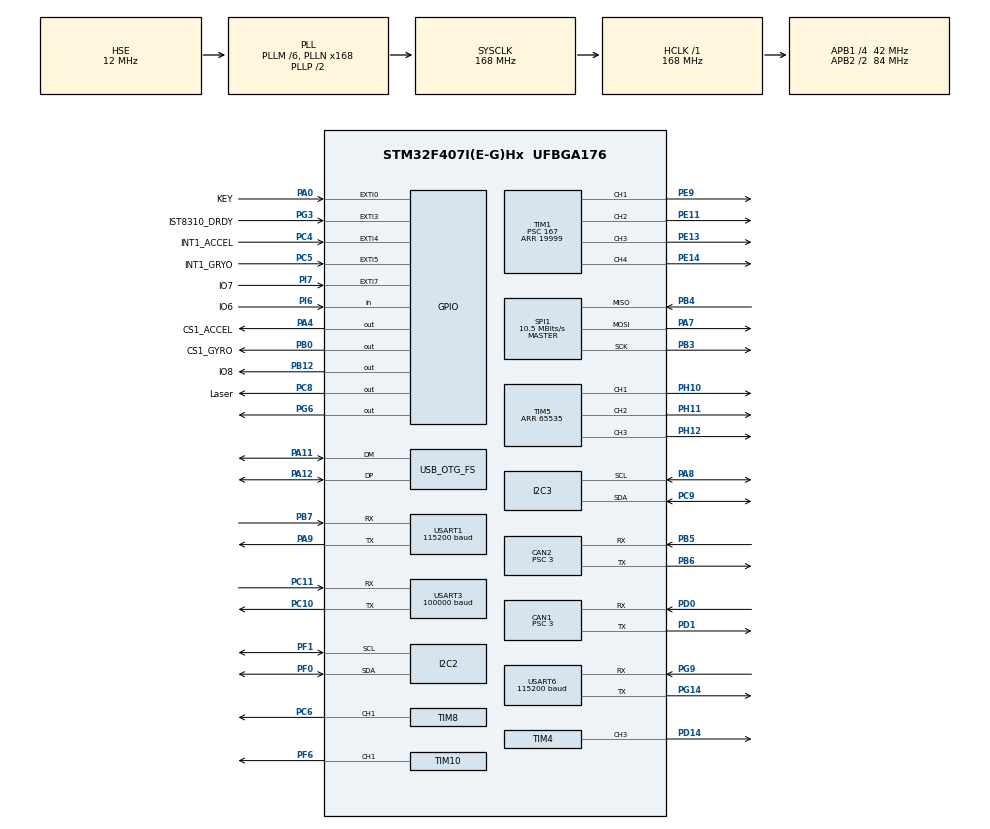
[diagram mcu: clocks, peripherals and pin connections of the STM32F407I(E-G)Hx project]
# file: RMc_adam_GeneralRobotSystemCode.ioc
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CAN1.BS1=CAN_BS1_10TQ
CAN1.BS2=CAN_BS2_3TQ
CAN1.CalculateBaudRate=1000000
CAN1.CalculateTimeBit=999.99
CAN1.CalculateTimeQuantum=71.42857142857143
CAN1.Prescaler=3
CAN2.BS1=CAN_BS1_10TQ
CAN2.BS2=CAN_BS2_3TQ
CAN2.CalculateBaudRate=1000000
CAN2.CalculateTimeBit=999.99
CAN2.CalculateTimeQuantum=71.42857142857143
CAN2.Prescaler=3
Dma.Request0=USART3_RX
Dma.Request1=USART1_RX
Dma.Request2=USART1_TX
Dma.Request3=SPI1_RX
Dma.Request4=SPI1_TX
Dma.Request5=USART6_RX
Dma.Request6=USART6_TX
Dma.SPI1_RX.3.Direction=DMA_PERIPH_TO_MEMORY
Dma.SPI1_RX.3.FIFOMode=DMA_FIFOMODE_DISABLE
Dma.SPI1_RX.3.Instance=DMA2_Stream0
Dma.SPI1_RX.3.MemDataAlignment=DMA_MDATAALIGN_BYTE
Dma.SPI1_RX.3.MemInc=DMA_MINC_ENABLE
Dma.SPI1_RX.3.Mode=DMA_NORMAL
Dma.SPI1_RX.3.PeriphDataAlignment=DMA_PDATAALIGN_BYTE
Dma.SPI1_RX.3.PeriphInc=DMA_PINC_DISABLE
Dma.SPI1_RX.3.Priority=DMA_PRIORITY_VERY_HIGH
Dma.SPI1_TX.4.Direction=DMA_MEMORY_TO_PERIPH
Dma.SPI1_TX.4.FIFOMode=DMA_FIFOMODE_DISABLE
Dma.SPI1_TX.4.Instance=DMA2_Stream3
Dma.SPI1_TX.4.MemDataAlignment=DMA_MDATAALIGN_BYTE
Dma.SPI1_TX.4.MemInc=DMA_MINC_ENABLE
Dma.SPI1_TX.4.Mode=DMA_NORMAL
Dma.SPI1_TX.4.PeriphDataAlignment=DMA_PDATAALIGN_BYTE
Dma.SPI1_TX.4.PeriphInc=DMA_PINC_DISABLE
Dma.SPI1_TX.4.Priority=DMA_PRIORITY_VERY_HIGH
Dma.USART1_RX.1.Direction=DMA_PERIPH_TO_MEMORY
Dma.USART1_RX.1.FIFOMode=DMA_FIFOMODE_DISABLE
Dma.USART1_RX.1.Instance=DMA2_Stream5
Dma.USART1_RX.1.MemDataAlignment=DMA_MDATAALIGN_BYTE
Dma.USART1_RX.1.MemInc=DMA_MINC_ENABLE
Dma.USART1_RX.1.Mode=DMA_NORMAL
Dma.USART1_RX.1.PeriphDataAlignment=DMA_PDATAALIGN_BYTE
Dma.USART1_RX.1.PeriphInc=DMA_PINC_DISABLE
Dma.USART1_RX.1.Priority=DMA_PRIORITY_MEDIUM
Dma.USART1_TX.2.Direction=DMA_MEMORY_TO_PERIPH
Dma.USART1_TX.2.FIFOMode=DMA_FIFOMODE_DISABLE
Dma.USART1_TX.2.Instance=DMA2_Stream7
Dma.USART1_TX.2.MemDataAlignment=DMA_MDATAALIGN_BYTE
Dma.USART1_TX.2.MemInc=DMA_MINC_ENABLE
Dma.USART1_TX.2.Mode=DMA_NORMAL
Dma.USART1_TX.2.PeriphDataAlignment=DMA_PDATAALIGN_BYTE
Dma.USART1_TX.2.PeriphInc=DMA_PINC_DISABLE
Dma.USART1_TX.2.Priority=DMA_PRIORITY_MEDIUM
Dma.USART3_RX.0.Direction=DMA_PERIPH_TO_MEMORY
Dma.USART3_RX.0.FIFOMode=DMA_FIFOMODE_DISABLE
Dma.USART3_RX.0.Instance=DMA1_Stream1
Dma.USART3_RX.0.MemDataAlignment=DMA_MDATAALIGN_BYTE
Dma.USART3_RX.0.MemInc=DMA_MINC_ENABLE
Dma.USART3_RX.0.Mode=DMA_CIRCULAR
Dma.USART3_RX.0.PeriphDataAlignment=DMA_PDATAALIGN_BYTE
Dma.USART3_RX.0.PeriphInc=DMA_PINC_DISABLE
Dma.USART3_RX.0.Priority=DMA_PRIORITY_VERY_HIGH
Dma.USART6_RX.5.Direction=DMA_PERIPH_TO_MEMORY
Dma.USART6_RX.5.FIFOMode=DMA_FIFOMODE_DISABLE
Dma.USART6_RX.5.Instance=DMA2_Stream2
Dma.USART6_RX.5.MemDataAlignment=DMA_MDATAALIGN_BYTE
Dma.USART6_RX.5.MemInc=DMA_MINC_ENABLE
Dma.USART6_RX.5.Mode=DMA_NORMAL
Dma.USART6_RX.5.PeriphDataAlignment=DMA_PDATAALIGN_BYTE
Dma.USART6_RX.5.PeriphInc=DMA_PINC_DISABLE
Dma.USART6_RX.5.Priority=DMA_PRIORITY_HIGH
Dma.USART6_TX.6.Direction=DMA_MEMORY_TO_PERIPH
Dma.USART6_TX.6.FIFOMode=DMA_FIFOMODE_DISABLE
Dma.USART6_TX.6.Instance=DMA2_Stream6
Dma.USART6_TX.6.MemDataAlignment=DMA_MDATAALIGN_BYTE
Dma.USART6_TX.6.MemInc=DMA_MINC_ENABLE
Dma.USART6_TX.6.Mode=DMA_NORMAL
Dma.USART6_TX.6.PeriphDataAlignment=DMA_PDATAALIGN_BYTE
Dma.USART6_TX.6.PeriphInc=DMA_PINC_DISABLE
Dma.USART6_TX.6.Priority=DMA_PRIORITY_HIGH
FREERTOS.Tasks01=flashLED,8,128,flashLEDTask_callback,Default,NULL,Dynamic,NULL,NULL;CAN_sendTask,55,128,CAN_sendTask_callback,Default,NULL,Dynamic,NULL,NULL;FastTestTask,8,128,FastTestTask_callback,Default,NULL,Dynamic,NULL,NULL;RemoteTask,40,256,RemoteTask_callback,Default,NULL,Dynamic,NULL,NULL;ChassisTask,49,128,ChassisTask_callback,Default,NULL,Dynamic,NULL,NULL;gimbalTask,54,128,gimbalTask_callback,Default,NULL,Dynamic,NULL,NULL;NUCcontrolTask,39,256,NUCcontrolTask_callback,Default,NULL,Dynamic,NULL,NULL;errorDetectTask,8,128,errorDetectTask_callback,Default,NULL,Dynamic,NULL,NULL;statusTask,8,128,statusTask_callback,Default,NULL,Dynamic,NULL,NULL
FREERTOS.configENABLE_FPU=1
I2C2.I2C_Mode=I2C_Fast
I2C3.I2C_Mode=I2C_Fast
Mcu.Family=STM32F4
Mcu.Name=STM32F407I(E-G)Hx
Mcu.Package=UFBGA176
NVIC.CAN1_RX0_IRQn=true\:5\:0\:false\:false\:true\:true\:true\:true
NVIC.CAN2_RX0_IRQn=true\:5\:0\:false\:false\:true\:true\:true\:true
NVIC.DMA1_Stream1_IRQn=true\:5\:0\:false\:false\:true\:true\:false\:true
NVIC.DMA2_Stream0_IRQn=true\:5\:0\:false\:false\:true\:false\:false\:true
NVIC.DMA2_Stream2_IRQn=true\:5\:0\:false\:false\:true\:false\:false\:true
NVIC.DMA2_Stream3_IRQn=true\:5\:0\:false\:false\:true\:true\:false\:true
NVIC.DMA2_Stream5_IRQn=true\:5\:0\:false\:false\:true\:false\:false\:true
NVIC.DMA2_Stream6_IRQn=true\:5\:0\:false\:false\:true\:true\:false\:true
NVIC.DMA2_Stream7_IRQn=true\:5\:0\:false\:false\:true\:true\:false\:true
NVIC.EXTI0_IRQn=true\:5\:0\:false\:false\:true\:true\:true\:true
NVIC.EXTI9_5_IRQn=true\:5\:0\:false\:false\:true\:true\:true\:true
NVIC.OTG_FS_IRQn=true\:5\:0\:false\:false\:true\:true\:false\:true
NVIC.PriorityGroup=NVIC_PRIORITYGROUP_4
NVIC.TIM2_IRQn=true\:0\:0\:false\:false\:true\:false\:false\:true
NVIC.TIM8_TRG_COM_TIM14_IRQn=true\:5\:0\:false\:false\:true\:false\:true\:true
NVIC.TIM8_UP_TIM13_IRQn=true\:5\:0\:false\:false\:true\:true\:true\:true
NVIC.TimeBase=TIM2_IRQn
NVIC.TimeBaseIP=TIM2
NVIC.USART1_IRQn=true\:5\:0\:false\:false\:true\:false\:true\:true
NVIC.USART3_IRQn=true\:5\:0\:false\:false\:true\:false\:true\:true
NVIC.USART6_IRQn=true\:5\:0\:false\:false\:true\:true\:true\:true
PA0-WKUP.GPIO_Label=KEY
PA0-WKUP.GPIO_ModeDefaultEXTI=GPIO_MODE_IT_RISING
PA0-WKUP.GPIO_PuPd=GPIO_PULLDOWN
PA0-WKUP.Signal=GPXTI0
PA11.Mode=Device_Only
PA11.Signal=USB_OTG_FS_DM
PA12.Mode=Device_Only
PA12.Signal=USB_OTG_FS_DP
PA4.GPIO_Label=CS1_ACCEL
PA4.GPIO_PuPd=GPIO_PULLUP
PA4.GPIO_Speed=GPIO_SPEED_FREQ_VERY_HIGH
PA4.PinState=GPIO_PIN_SET
PA4.Signal=GPIO_Output
PA7.Mode=Full_Duplex_Master
PA7.Signal=SPI1_MOSI
PA8.GPIO_Pu=GPIO_PULLUP
PA8.Mode=I2C
PA8.Signal=I2C3_SCL
PA9.Mode=Asynchronous
PA9.Signal=USART1_TX
PB0.GPIO_Label=CS1_GYRO
PB0.GPIO_PuPd=GPIO_PULLUP
PB0.GPIO_Speed=GPIO_SPEED_FREQ_VERY_HIGH
PB0.PinState=GPIO_PIN_SET
PB0.Signal=GPIO_Output
PB12.GPIO_Label=IO8
PB12.Signal=GPIO_Output
PB3.Mode=Full_Duplex_Master
PB3.Signal=SPI1_SCK
PB4.Mode=Full_Duplex_Master
PB4.Signal=SPI1_MISO
PB5.Mode=CAN_Activate
PB5.Signal=CAN2_RX
PB6.Mode=CAN_Activate
PB6.Signal=CAN2_TX
PB7.Mode=Asynchronous
PB7.Signal=USART1_RX
PC10.Mode=Asynchronous
PC10.Signal=USART3_TX
PC11.Mode=Asynchronous
PC11.Signal=USART3_RX
PC4.GPIO_Label=INT1_ACCEL
PC4.GPIO_PuPd=GPIO_PULLUP
PC4.Signal=GPXTI4
PC5.GPIO_Label=INT1_GRYO
PC5.GPIO_PuPd=GPIO_PULLUP
PC5.Signal=GPXTI5
PC6.Signal=S_TIM8_CH1
PC8.GPIO_Label=Laser
PC8.GPIO_PuPd=GPIO_PULLUP
PC8.Signal=GPIO_Output
PC9.GPIO_Pu=GPIO_PULLUP
PC9.Mode=I2C
PC9.Signal=I2C3_SDA
PD0.Mode=CAN_Activate
PD0.Signal=CAN1_RX
PD1.Mode=CAN_Activate
PD1.Signal=CAN1_TX
PD14.Signal=S_TIM4_CH3
PE11.Signal=S_TIM1_CH2
PE13.Signal=S_TIM1_CH3
PE14.Signal=S_TIM1_CH4
PE9.Signal=S_TIM1_CH1
PF0.GPIO_Pu=GPIO_PULLUP
PF0.Mode=I2C
PF0.Signal=I2C2_SDA
PF1.GPIO_Pu=GPIO_PULLUP
PF1.Mode=I2C
PF1.Signal=I2C2_SCL
PF6.GPIO_PuPd=GPIO_PULLUP
PF6.GPIO_Speed=GPIO_SPEED_FREQ_MEDIUM
PF6.Signal=S_TIM10_CH1
PG14.Mode=Asynchronous
PG14.Signal=USART6_TX
PG3.GPIO_Label=IST8310_DRDY
PG3.GPIO_ModeDefaultEXTI=GPIO_MODE_IT_FALLING
PG3.GPIO_PuPd=GPIO_PULLUP
PG3.Signal=GPXTI3
PG6.Signal=GPIO_Output
PG9.Mode=Asynchronous
PG9.Signal=USART6_RX
PH0-OSC_IN.Mode=HSE-External-Oscillator
PH0-OSC_IN.Signal=RCC_OSC_IN
PH1-OSC_OUT.Mode=HSE-External-Oscillator
PH1-OSC_OUT.Signal=RCC_OSC_OUT
PH10.Signal=S_TIM5_CH1
PH11.Signal=S_TIM5_CH2
PH12.Signal=S_TIM5_CH3
PI6.GPIO_Label=IO6
PI6.Signal=GPIO_Input
PI7.GPIO_Label=IO7
PI7.GPIO_ModeDefaultEXTI=GPIO_MODE_IT_RISING
PI7.GPIO_PuPd=GPIO_PULLDOWN
PI7.Signal=GPXTI7
ProjectManager.HeapSize=0x400
ProjectManager.StackSize=0x800
ProjectManager.TargetToolchain=MDK-ARM V5
RCC.48MHZClocksFreq_Value=48000000
RCC.AHBFreq_Value=168000000
RCC.APB1CLKDivider=RCC_HCLK_DIV4
RCC.APB1Freq_Value=42000000
RCC.APB1TimFreq_Value=84000000
RCC.APB2CLKDivider=RCC_HCLK_DIV2
RCC.APB2Freq_Value=84000000
RCC.APB2TimFreq_Value=168000000
RCC.CortexFreq_Value=168000000
RCC.HCLKFreq_Value=168000000
RCC.HSE_VALUE=12000000
RCC.HSI_VALUE=16000000
RCC.LSE_VALUE=32768
RCC.PLLM=6
RCC.PLLN=168
RCC.PLLQ=7
RCC.SYSCLKFreq_VALUE=168000000
RCC.SYSCLKSource=RCC_SYSCLKSOURCE_PLLCLK
RCC.VCOOutputFreq_Value=336000000
SH.S_TIM10_CH1.0=TIM10_CH1,PWM Generation1 CH1
SH.S_TIM1_CH1.0=TIM1_CH1,PWM Generation1 CH1
SH.S_TIM1_CH2.0=TIM1_CH2,PWM Generation2 CH2
SH.S_TIM1_CH3.0=TIM1_CH3,PWM Generation3 CH3
SH.S_TIM1_CH4.0=TIM1_CH4,PWM Generation4 CH4
SH.S_TIM4_CH3.0=TIM4_CH3,PWM Generation3 CH3
SH.S_TIM5_CH1.0=TIM5_CH1,PWM Generation1 CH1
SH.S_TIM5_CH2.0=TIM5_CH2,PWM Generation2 CH2
SH.S_TIM5_CH3.0=TIM5_CH3,PWM Generation3 CH3
SH.S_TIM8_CH1.0=TIM8_CH1,PWM Generation1 CH1
SPI1.BaudRatePrescaler=SPI_BAUDRATEPRESCALER_8
SPI1.CLKPhase=SPI_PHASE_2EDGE
SPI1.CLKPolarity=SPI_POLARITY_HIGH
SPI1.CalculateBaudRate=10.5 MBits/s
SPI1.Direction=SPI_DIRECTION_2LINES
SPI1.Mode=SPI_MODE_MASTER
SPI1.VirtualType=VM_MASTER
TIM1.AutoReloadPreload=TIM_AUTORELOAD_PRELOAD_ENABLE
TIM1.Channel-PWM\ Generation1\ CH1=TIM_CHANNEL_1
TIM1.Channel-PWM\ Generation2\ CH2=TIM_CHANNEL_2
TIM1.Channel-PWM\ Generation3\ CH3=TIM_CHANNEL_3
TIM1.Channel-PWM\ Generation4\ CH4=TIM_CHANNEL_4
TIM1.Period=19999
TIM1.Prescaler=167
TIM1.Pulse-PWM\ Generation1\ CH1=2000
TIM1.Pulse-PWM\ Generation2\ CH2=2000
TIM1.Pulse-PWM\ Generation3\ CH3=2000
TIM1.Pulse-PWM\ Generation4\ CH4=2000
TIM10.Channel=TIM_CHANNEL_1
TIM10.OC1Preload_PWM=ENABLE
TIM10.Period=5000-1
TIM13.AutoReloadPreload=TIM_AUTORELOAD_PRELOAD_ENABLE
TIM13.Period=100-1
TIM13.Prescaler=840-1
TIM14.AutoReloadPreload=TIM_AUTORELOAD_PRELOAD_ENABLE
TIM14.Period=500-1
TIM14.Prescaler=840-1
TIM4.Channel-PWM\ Generation3\ CH3=TIM_CHANNEL_3
TIM5.Channel-PWM\ Generation1\ CH1=TIM_CHANNEL_1
TIM5.Channel-PWM\ Generation2\ CH2=TIM_CHANNEL_2
TIM5.Channel-PWM\ Generation3\ CH3=TIM_CHANNEL_3
TIM5.OC3Preload_PWM=ENABLE
TIM5.Period=65535
TIM5.Pulse-PWM\ Generation1\ CH1=10000
TIM5.Pulse-PWM\ Generation2\ CH2=10000
TIM5.Pulse-PWM\ Generation3\ CH3=10000
TIM8.AutoReloadPreload=TIM_AUTORELOAD_PRELOAD_ENABLE
TIM8.Channel-PWM\ Generation1\ CH1=TIM_CHANNEL_1
TIM8.Period=19999
TIM8.Prescaler=167
TIM8.Pulse-PWM\ Generation1\ CH1=2000
USART1.BaudRate=115200
USART1.VirtualMode=VM_ASYNC
USART3.BaudRate=100000
USART3.Mode=MODE_TX_RX
USART3.VirtualMode=VM_ASYNC
USART6.BaudRate=115200
USART6.VirtualMode=VM_ASYNC
USB_DEVICE.CLASS_NAME_FS=CDC
USB_DEVICE.CONFIGURATION_STRING_CDC_FS=CDC config
USB_DEVICE.INTERFACE_STRING_CDC_FS=sethome
USB_DEVICE.PRODUCT_STRING_CDC_FS=Robomaster Adam
USB_DEVICE.VirtualMode-CDC_FS=Cdc
USB_DEVICE.VirtualModeFS=Cdc_FS
USB_OTG_FS.VirtualMode=Device_Only
VP_CRC_VS_CRC.Mode=CRC_Activate
VP_FREERTOS_VS_CMSIS_V2.Mode=CMSIS_V2
VP_SYS_VS_tim2.Mode=TIM2
VP_TIM10_VS_ClockSourceINT.Mode=Enable_Timer
VP_TIM13_VS_ClockSourceINT.Mode=Enable_Timer
VP_TIM14_VS_ClockSourceINT.Mode=Enable_Timer
VP_TIM1_VS_ClockSourceINT.Mode=Internal
VP_TIM4_VS_ClockSourceINT.Mode=Internal
VP_TIM5_VS_ClockSourceINT.Mode=Internal
VP_TIM8_VS_ClockSourceINT.Mode=Internal
VP_USB_DEVICE_VS_USB_DEVICE_CDC_FS.Mode=CDC_FS
board=custom

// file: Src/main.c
/* USER CODE BEGIN Header */
/**
 ******************************************************************************
 * @file           : main.c
 * @brief          : Main program body
 ******************************************************************************
 * @attention
 *
 * <h2><center>&copy; Copyright (c) 2019 STMicroelectronics.
 * All rights reserved.</center></h2>
 *
 * This software component is licensed by ST under BSD 3-Clause license,
 * the "License"; You may not use this file except in compliance with the
 * License. You may obtain a copy of the License at:
 *                        opensource.org/licenses/BSD-3-Clause
 *
 ******************************************************************************
 */
/* USER CODE END Header */
#include "main.h"
#include "cmsis_os.h"
#include "can.h"
#include "crc.h"
#include "dma.h"
#include "i2c.h"
#include "spi.h"
#include "tim.h"
#include "usart.h"
#include "usb_device.h"
#include "gpio.h"

/* USER CODE BEGIN Includes */
#include "CAN_receive&send.h"
#include "DBUS_remote_control.h"
#include "LED_control.h"
#include "PWM_control.h"
#include "IMU_updata.h"
#include "UART_data_transmit.h"
#include "Encoder.h"
#include "USB_VirCom.h"
#include "time.h"
#include "stdio.h"
#include "Laser.h"

#include "chassis_move.h"
#include "gimbal.h"
#include "Arm.h"
#include "shoot.h"
#include "Error_detect.h"

#include "MYACTUATOR_RMD_X.h"

/* USER CODE END Includes */

/* USER CODE BEGIN PV */
unsigned int num;

/* USER CODE END PV */

void SystemClock_Config(void);
void MX_FREERTOS_Init(void);

int main(void)
{

  /* MCU Configuration--------------------------------------------------------*/

  /* Reset of all peripherals, Initializes the Flash interface and the Systick. */
  HAL_Init();

  /* USER CODE BEGIN Init */
  HAL_Delay(100);
  /* USER CODE END Init */

  /* Configure the system clock */
  SystemClock_Config();

  /* Initialize all configured peripherals */
  MX_GPIO_Init();
  MX_DMA_Init();
  MX_CAN1_Init();
  MX_CAN2_Init();
  MX_USART3_UART_Init();
  MX_USART1_UART_Init();
  MX_TIM5_Init();
  MX_TIM1_Init();
  MX_SPI1_Init();
  MX_TIM10_Init();
  MX_I2C3_Init();
  MX_TIM14_Init();
  MX_USART6_UART_Init();
  MX_I2C2_Init();
  MX_TIM8_Init();
  MX_CRC_Init();
  MX_TIM13_Init();
  MX_TIM4_Init();
  /* USER CODE BEGIN 2 */
  // bsp 板级支持包
  // 初始化各项应用
  led_init();       // LED
  led_show(YELLOW); //初始化指示

  // 初始化硬件
  can_filter_init();        // can 过滤器
  remote_control_init();    //遥控器初始化
  PWM_servo_control_init(); // PWM
  // PWM_snail_init(PIN_2);
  // PWM_snail_init(PIN_3);

  IMU_init();   // IMU 加速度计，陀螺仪，地磁计
  uart_init();  //初始化串口
  Laser_init(); //初始化激光

  // 初始化软件
  chassis_move_init(); //初始化底盘
  gimbal_init();       //初始化云台
  shoot_init();        //初始化发射机构
  Error_detect_init(); //初始化错误检测

  led_show(GREEN); //初始化完毕

  HAL_Delay(100);
  /* USER CODE END 2 */

  /* Init scheduler */
  osKernelInitialize();  /* Call init function for freertos objects (in freertos.c) */
  MX_FREERTOS_Init();
  /* Start scheduler */
  osKernelStart();

  /* We should never get here as control is now taken by the scheduler */
  /* Infinite loop */
  while (1)
  {
    osDelay(1);
  }

}

void SystemClock_Config(void)
{
  RCC_OscInitTypeDef RCC_OscInitStruct = {0};
  RCC_ClkInitTypeDef RCC_ClkInitStruct = {0};

  /** Configure the main internal regulator output voltage
  */
  __HAL_RCC_PWR_CLK_ENABLE();
  __HAL_PWR_VOLTAGESCALING_CONFIG(PWR_REGULATOR_VOLTAGE_SCALE1);
  /** Initializes the RCC Oscillators according to the specified parameters
  * in the RCC_OscInitTypeDef structure.
  */
  RCC_OscInitStruct.OscillatorType = RCC_OSCILLATORTYPE_HSE;
  RCC_OscInitStruct.HSEState = RCC_HSE_ON;
  RCC_OscInitStruct.PLL.PLLState = RCC_PLL_ON;
  RCC_OscInitStruct.PLL.PLLSource = RCC_PLLSOURCE_HSE;
  RCC_OscInitStruct.PLL.PLLM = 6;
  RCC_OscInitStruct.PLL.PLLN = 168;
  RCC_OscInitStruct.PLL.PLLP = RCC_PLLP_DIV2;
  RCC_OscInitStruct.PLL.PLLQ = 7;
  if (HAL_RCC_OscConfig(&RCC_OscInitStruct) != HAL_OK)
  {
    Error_Handler();
  }
  /** Initializes the CPU, AHB and APB buses clocks
  */
  RCC_ClkInitStruct.ClockType = RCC_CLOCKTYPE_HCLK|RCC_CLOCKTYPE_SYSCLK
                              |RCC_CLOCKTYPE_PCLK1|RCC_CLOCKTYPE_PCLK2;
  RCC_ClkInitStruct.SYSCLKSource = RCC_SYSCLKSOURCE_PLLCLK;
  RCC_ClkInitStruct.AHBCLKDivider = RCC_SYSCLK_DIV1;
  RCC_ClkInitStruct.APB1CLKDivider = RCC_HCLK_DIV4;
  RCC_ClkInitStruct.APB2CLKDivider = RCC_HCLK_DIV2;

  if (HAL_RCC_ClockConfig(&RCC_ClkInitStruct, FLASH_LATENCY_5) != HAL_OK)
  {
    Error_Handler();
  }
}

void HAL_TIM_PeriodElapsedCallback(TIM_HandleTypeDef *htim)
{
  if (htim->Instance == TIM2) {
    HAL_IncTick();
  }
  /* USER CODE BEGIN Callback 1 */
  if (htim->Instance == TIM13) // 1000HZ
  {
    IMU_updata();
  }
  else if (htim->Instance == TIM14) // 200HZ
  {
  }

  /* USER CODE END Callback 1 */
}

void Error_Handler(void)
{
}

/************************ (C) COPYRIGHT STMicroelectronics *****END OF FILE****/

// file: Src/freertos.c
/* USER CODE BEGIN Header */
/**
 ******************************************************************************
 * File Name          : freertos.c
 * Description        : Code for freertos applications
 ******************************************************************************
 * @attention
 *
 * <h2><center>&copy; Copyright (c) 2020 STMicroelectronics.
 * All rights reserved.</center></h2>
 *
 * This software component is licensed by ST under Ultimate Liberty license
 * SLA0044, the "License"; You may not use this file except in compliance with
 * the License. You may obtain a copy of the License at:
 *                             www.st.com/SLA0044
 *
 ******************************************************************************
 */
/* USER CODE END Header */

#include "FreeRTOS.h"
#include "task.h"
#include "main.h"
#include "cmsis_os.h"

/* USER CODE BEGIN Includes */
#include "usbd_cdc_if.h"
#include "CAN_receive&send.h"
#include "DBUS_remote_control.h"
#include "LED_control.h"
#include "IMU_updata.h"
#include "PWM_control.h"

#include "TF_MINI_PLUS_LaserRanging.h"
#include "chassis_move.h" //普通底盘
#include "gimbal.h"
#include "shoot.h"
#include "math.h"
#include "USB_VirCom.h"

#include "global_status.h"
#include "Error_detect.h"
#include "NUC_communication.h"

#include "MYACTUATOR_RMD_X.h"
/* USER CODE END Includes */

/* USER CODE BEGIN Variables */

extern struct IMU_t IMU_data;

/* USER CODE END Variables */
/* Definitions for flashLED */
osThreadId_t flashLEDHandle;
const osThreadAttr_t flashLED_attributes = {
  .name = "flashLED",
  .stack_size = 128 * 4,
  .priority = (osPriority_t) osPriorityLow,
};
/* Definitions for CAN_sendTask */
osThreadId_t CAN_sendTaskHandle;
const osThreadAttr_t CAN_sendTask_attributes = {
  .name = "CAN_sendTask",
  .stack_size = 128 * 4,
  .priority = (osPriority_t) osPriorityRealtime7,
};
/* Definitions for FastTestTask */
osThreadId_t FastTestTaskHandle;
const osThreadAttr_t FastTestTask_attributes = {
  .name = "FastTestTask",
  .stack_size = 128 * 4,
  .priority = (osPriority_t) osPriorityLow,
};
/* Definitions for RemoteTask */
osThreadId_t RemoteTaskHandle;
const osThreadAttr_t RemoteTask_attributes = {
  .name = "RemoteTask",
  .stack_size = 256 * 4,
  .priority = (osPriority_t) osPriorityHigh,
};
/* Definitions for ChassisTask */
osThreadId_t ChassisTaskHandle;
const osThreadAttr_t ChassisTask_attributes = {
  .name = "ChassisTask",
  .stack_size = 128 * 4,
  .priority = (osPriority_t) osPriorityRealtime1,
};
/* Definitions for gimbalTask */
osThreadId_t gimbalTaskHandle;
const osThreadAttr_t gimbalTask_attributes = {
  .name = "gimbalTask",
  .stack_size = 128 * 4,
  .priority = (osPriority_t) osPriorityRealtime6,
};
/* Definitions for NUCcontrolTask */
osThreadId_t NUCcontrolTaskHandle;
const osThreadAttr_t NUCcontrolTask_attributes = {
  .name = "NUCcontrolTask",
  .stack_size = 256 * 4,
  .priority = (osPriority_t) osPriorityAboveNormal7,
};
/* Definitions for errorDetectTask */
osThreadId_t errorDetectTaskHandle;
const osThreadAttr_t errorDetectTask_attributes = {
  .name = "errorDetectTask",
  .stack_size = 128 * 4,
  .priority = (osPriority_t) osPriorityLow,
};
/* Definitions for statusTask */
osThreadId_t statusTaskHandle;
const osThreadAttr_t statusTask_attributes = {
  .name = "statusTask",
  .stack_size = 128 * 4,
  .priority = (osPriority_t) osPriorityLow,
};

void flashLEDTask_callback(void *argument);
void CAN_sendTask_callback(void *argument);
void FastTestTask_callback(void *argument);
void RemoteTask_callback(void *argument);
void ChassisTask_callback(void *argument);
void gimbalTask_callback(void *argument);
void NUCcontrolTask_callback(void *argument);
void errorDetectTask_callback(void *argument);
void statusTask_callback(void *argument);

extern void MX_USB_DEVICE_Init(void);
void MX_FREERTOS_Init(void); /* (MISRA C 2004 rule 8.1) */

void MX_FREERTOS_Init(void) {

  /* Create the thread(s) */
  /* creation of flashLED */
  flashLEDHandle = osThreadNew(flashLEDTask_callback, NULL, &flashLED_attributes);

  /* creation of CAN_sendTask */
  CAN_sendTaskHandle = osThreadNew(CAN_sendTask_callback, NULL, &CAN_sendTask_attributes);

  /* creation of FastTestTask */
  FastTestTaskHandle = osThreadNew(FastTestTask_callback, NULL, &FastTestTask_attributes);

  /* creation of RemoteTask */
  RemoteTaskHandle = osThreadNew(RemoteTask_callback, NULL, &RemoteTask_attributes);

  /* creation of ChassisTask */
  ChassisTaskHandle = osThreadNew(ChassisTask_callback, NULL, &ChassisTask_attributes);

  /* creation of gimbalTask */
  gimbalTaskHandle = osThreadNew(gimbalTask_callback, NULL, &gimbalTask_attributes);

  /* creation of NUCcontrolTask */
  NUCcontrolTaskHandle = osThreadNew(NUCcontrolTask_callback, NULL, &NUCcontrolTask_attributes);

  /* creation of errorDetectTask */
  errorDetectTaskHandle = osThreadNew(errorDetectTask_callback, NULL, &errorDetectTask_attributes);

  /* creation of statusTask */
  statusTaskHandle = osThreadNew(statusTask_callback, NULL, &statusTask_attributes);

}

void flashLEDTask_callback(void *argument)
{
  /* init code for USB_DEVICE */
  MX_USB_DEVICE_Init();
  /* USER CODE BEGIN flashLEDTask_callback */
  /* Infinite loop */
  for (;;)
  {
    if (Global_status.team == RED_TEAM)
      led_show(RED);
    else if (Global_status.team == BLUE_TEAM)
      led_show(BLUE);

    osDelay(250);
		uint8_t err_flag = 0;
    if (Global_status.err[MOTOR_ERR] == 1)
    {
      led_show(PINK);
			err_flag = 1;
      osDelay(150);
    }
    if (Global_status.err[REMOTE_ERR] == 1)
    {
      led_show(ORANGE);
			err_flag = 1;
      osDelay(150);
    }

		if ( err_flag == 0)
		{
      led_show(GREEN);
			osDelay(250);
		}
  }
  /* USER CODE END flashLEDTask_callback */
}

void CAN_sendTask_callback(void *argument)
{
  /* USER CODE BEGIN CAN_sendTask_callback */
  /* Infinite loop */
  for (;;)
  {
    // 原子化任务
    // 停止任务调度
    // vTaskSuspendAll();

    CAN1_send_current();
    CAN2_send_current();

    //  重启调度
    //  if (!xTaskResumeAll())
    //  {
    //    taskYIELD();
    //  }

    osDelay(5);
  }
  /* USER CODE END CAN_sendTask_callback */
}

void FastTestTask_callback(void *argument)
{
  /* USER CODE BEGIN FastTestTask_callback */
  /* Infinite loop */
  for (;;)
  {
    // gimbal.pitch.set = RC_data.rc.ch[0] / 3.0;
    osDelay(5);
  }
  /* USER CODE END FastTestTask_callback */
}

void RemoteTask_callback(void *argument)
{
  /* USER CODE BEGIN RemoteTask_callback */
  /* Infinite loop */
  for (;;)
  {
    osDelay(2000);
  }
  /* USER CODE END RemoteTask_callback */
}

void ChassisTask_callback(void *argument)
{
  /* USER CODE BEGIN ChassisTask_callback */

  /* Infinite loop */
  for (;;)
  {
    chassis_moto_speed_calc(RC_data.rc.ch[0] / 500.0f, RC_data.rc.ch[1] / 500.0f, RC_data.rc.ch[2] / 500.0f);
    osDelay(5);
  }
  /* USER CODE END ChassisTask_callback */
}

void gimbalTask_callback(void *argument)
{
  /* USER CODE BEGIN gimbalTask_callback */

  // 工程机器为机械臂进程
  /* Infinite loop */
  for (;;)
  {
    gimbal_updata();
    gimbal_pid_cal();

    shoot_update();
    shoot_pid_cal();

    osDelay(5);
  }
  /* USER CODE END gimbalTask_callback */
}

void NUCcontrolTask_callback(void *argument)
{
  /* USER CODE BEGIN NUCcontrolTask_callback */
  /* Infinite loop */
  STM32_data_t toNUC;
  unsigned char data[128];
  for (;;)
  {
    //和NUC py一下
    // toNUC.Team = Red_Team;
    // toNUC.now_yaw = gimbal.yaw.now;
    // toNUC.now_pitch = gimbal.pitch.now;

    // toNUC.acc[0] = IMU_data.accel[0];
    // toNUC.acc[1] = IMU_data.accel[1];
    // toNUC.acc[2] = IMU_data.accel[2];
    // toNUC.gyo[0] = IMU_data.gyro[0];
    // toNUC.gyo[1] = IMU_data.gyro[1];
    // toNUC.gyo[2] = IMU_data.gyro[2];
    // toNUC.mag[0] = IMU_data.mag[0];
    // toNUC.mag[1] = IMU_data.mag[1];
    // toNUC.mag[2] = IMU_data.mag[2];

    // // toNUC.location = chassis.location.now;

    // // toNUC.move_speed = chassis.speed.now;

    // toNUC.remainingBullets = shoot.remainingBullets;
    // toNUC.Team = Blue_Team;

    // encodeSTM32(&toNUC, data, 128);
    // VirCom_send(data, sizeof(STM32_data_t));

    //和MATLAB py一下
    char matlab[128];
    unsigned char len = 0;
    // len = sprintf(matlab, "%f,%f,%f\n", IMU_data.accel[0], IMU_data.accel[1], IMU_data.accel[2]);

    len = sprintf(matlab, "%f,%f,%f,%f,%f,%f,%f,%f,%f,%f,%f,%f,%f,%f,%f\n",
                  IMU_data.KF.pitch, IMU_data.KF.roll, IMU_data.KF.yaw,
                  IMU_data.BSX.pitch, IMU_data.BSX.roll, IMU_data.BSX.yaw,
                  IMU_data.AHRS.pitch, IMU_data.AHRS.roll, IMU_data.AHRS.yaw,
                  IMU_data.Mahony.pitch, IMU_data.Mahony.roll, IMU_data.Mahony.yaw,
                  IMU_data.madgwick.pitch, IMU_data.madgwick.roll, IMU_data.madgwick.yaw);
    VirCom_send(matlab, len);

    osDelay(1);
  }
  /* USER CODE END NUCcontrolTask_callback */
}

void errorDetectTask_callback(void *argument)
{
  /* USER CODE BEGIN errorDetectTask_callback */
  /* Infinite loop */

  for (;;)
  {
		Error_detect_flush();
		Error_detect_motor(chassis_FR);
		Error_detect_motor(chassis_FL);
		Error_detect_motor(chassis_BL);
		Error_detect_motor(chassis_BR);
    osDelay(500);
  }
  /* USER CODE END errorDetectTask_callback */
}

void statusTask_callback(void *argument)
{
  /* USER CODE BEGIN statusTask_callback */
  /* Infinite loop */
  for (;;)
  {
    // 在此切换状态

    osDelay(10);
  }
  /* USER CODE END statusTask_callback */
}

/************************ (C) COPYRIGHT STMicroelectronics *****END OF FILE****/
